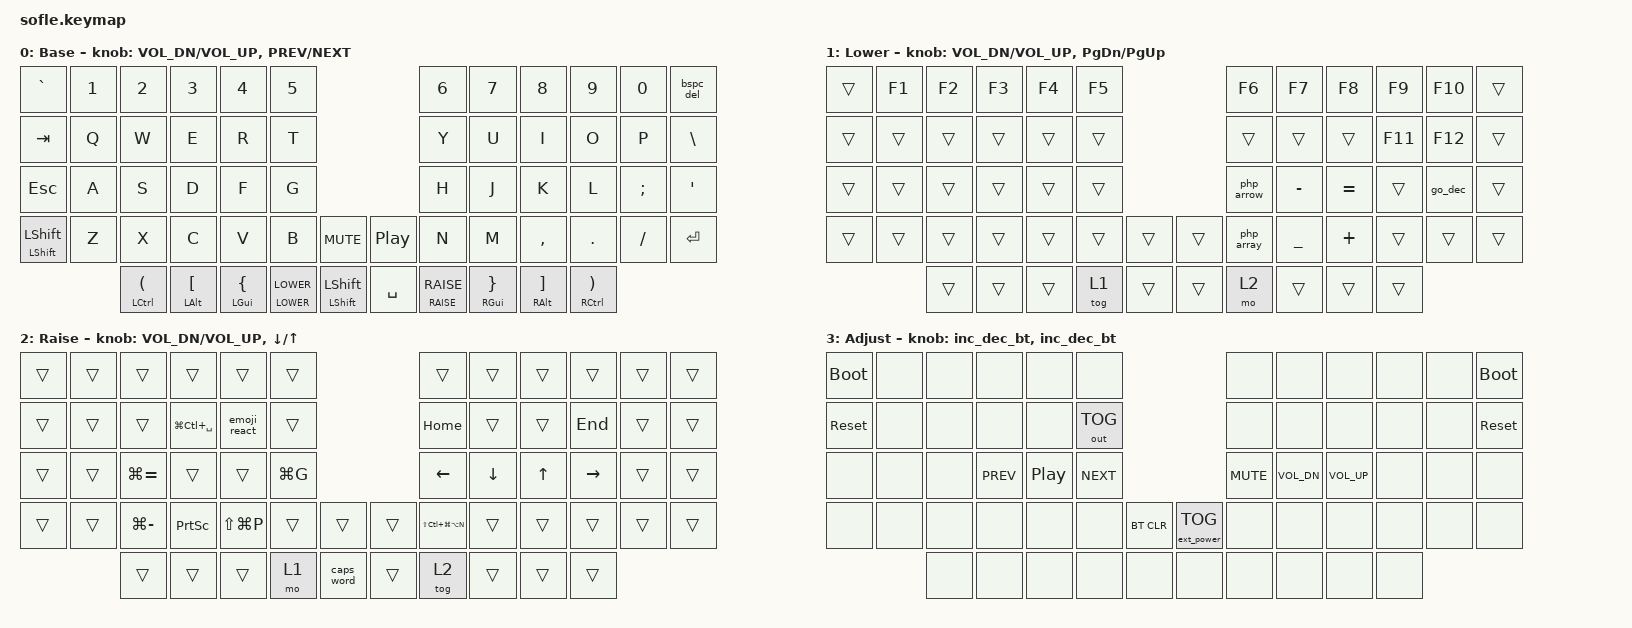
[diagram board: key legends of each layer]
/*
 * Copyright (c) 2020 The ZMK Contributors
 *
 * SPDX-License-Identifier: MIT
 */

#define BASE 0
#define LOWER 1
#define RAISE 2
#define ADJUST 3

#include <behaviors.dtsi>
#include <dt-bindings/zmk/bt.h>
#include <dt-bindings/zmk/ext_power.h>
#include <dt-bindings/zmk/keys.h>
#include <dt-bindings/zmk/outputs.h>
#include "settings.dtsi"
#include "encoder.dtsi"
#include "nice_view.dtsi"

/ {
    // Activate ADJUST layer by pressing raise and lower

    conditional_layers {
        compatible = "zmk,conditional-layers";

        adjust_layer {
            if-layers = <LOWER RAISE>;
            then-layer = <ADJUST>;
        };
    };

    behaviors {
        // tap: backspace | shift-tap: del

        bspc_del: bspc_del {
            compatible = "zmk,behavior-mod-morph";
            #binding-cells = <0>;
            bindings = <&kp BSPC>, <&kp DEL>;

            mods = <(MOD_LSFT)>;
        };

        inc_dec_bt: inc_dec_bt {
            compatible = "zmk,behavior-sensor-rotate";
            #sensor-binding-cells = <0>;
            bindings = <&bt BT_NXT>, <&bt BT_PRV>;
        };

        slht: slht { // sticky layer hold tap
            compatible = "zmk,behavior-hold-tap";
            #binding-cells = <2>;
            tapping-term-ms = <250>;
            flavor = "hold-preferred";
            hold-while-undecided;
            // momentary layer when held, sticky layer when tapped
            // so if held and then released without any other press, it deactivates layer immediately
            bindings = <&mo>, <&sl>;
        };

        sht: sht { // sticky hold tap
            compatible = "zmk,behavior-hold-tap";
            #binding-cells = <2>;
            tapping-term-ms = <250>;
            flavor = "hold-preferred";
            hold-while-undecided;
            // kp when held, sticky key when tapped
            // so if held and then released without any other press, it deactivates immediately
            bindings = <&kp>, <&sk>;
        };

        cmt: cmt {
            compatible = "zmk,behavior-hold-tap";
            #binding-cells = <2>;
            tapping-term-ms = <200>;
            hold-while-undecided;
            flavor = "hold-preferred";
            bindings = <&kp>, <&kp>;
        };
    };

    macros {
        php_arrow: php_arrow {
            compatible = "zmk,behavior-macro";
            #binding-cells = <0>;
            bindings = <&kp MINUS &kp GT>;
        };
        php_array: php_array {
            compatible = "zmk,behavior-macro";
            #binding-cells = <0>;
            bindings = <&kp EQUAL &kp GT>;
        };
        go_dec: go_dec {
            compatible = "zmk,behavior-macro";
            #binding-cells = <0>;
            bindings = <&kp COLON &kp EQUAL>;
        };

        emoji_react: emoji_react {
            compatible = "zmk,behavior-macro";
            #binding-cells = <0>;
            bindings = <&kp PLUS &kp COLON>;
        };
    };

    keymap {
        compatible = "zmk,keymap";

        base_layer {
            display-name = "Base";

            // ------------------------------------------------------------------------------------------------------------
            // |   `   |  1  |  2  |  3   |  4   |  5   |                   |  6   |  7    |  8    |  9   |   0   | BKSPC |
            // |  TAB  |  Q  |  W  |  E   |  R   |  T   |                   |  Y   |  U    |  I    |  O   |   P   |   \   |
            // |  ESC  |  A  |  S  |  D   |  F   |  G   |                   |  H   |  J    |  K    |  L   |   ;   |   '   |
            // | SHIFT |  Z  |  X  |  C   |  V   |  B   |  MUTE  |  | PLAY  |  N   |  M    |  ,    |  .   |   /   |  RET  |
            //               |CTRL | ALT  | GUI  | LOWER|  SHIFT |  | SPACE | RAISE| GUI   | ALT   | CTRL |

            bindings = <
&kp GRAVE  &kp N1  &kp N2          &kp N3         &kp N4         &kp N5                                     &kp N6     &kp N7         &kp N8         &kp N9          &kp N0    &bspc_del
&kp TAB    &kp Q   &kp W           &kp E          &kp R          &kp T                                      &kp Y      &kp U          &kp I          &kp O           &kp P     &kp BSLH
&kp ESC    &kp A   &kp S           &kp D          &kp F          &kp G                                      &kp H      &kp J          &kp K          &kp L           &kp SEMI  &kp SQT
&sht LSHFT LSHFT  &kp Z   &kp X           &kp C          &kp V          &kp B      &kp K_MUTE    &kp C_PLAY_PAUSE  &kp N      &kp M          &kp COMMA      &kp DOT         &kp FSLH  &kp RET
                   &mt LCTRL LPAR  &mt LALT LBKT  &cmt LGUI LBRC &slht LOWER LOWER &sht LSHFT LSHFT     &kp SPACE         &slht RAISE RAISE &cmt RGUI RBRC  &mt RALT RBKT  &mt RCTRL RPAR
            >;

            sensor-bindings = <&inc_dec_kp C_VOL_DN C_VOL_UP &inc_dec_kp C_PREV C_NEXT>;
        };

        lower_layer {
            display-name = "Lower";

            // ------------------------------------------------------------------------------------------------------------
            // |       | F1  | F2  |  F3  |  F4  |  F5  |                   |  F6  |  F7   |  F8   |  F9  |  F10  |       |
            // |       |  1  |  2  |  3   |  4   |  5   |                   |      |       |       |  F11 |  F12  |       |
            // |       |     |     |      |      |      |                   |  ->  |   -   |   =   |      |  :=   |       |
            // |       |     |     |      |      |      |        |  |       |  =>  |   _   |   +   |      |       |       |
            //               |     |      |      |      |        |  |       |      |       |       |      |

            bindings = <
&trans  &kp F1  &kp F2  &kp F3  &kp F4  &kp F5                    &kp F6      &kp F7     &kp F8     &kp F9  &kp F10 &trans
&trans  &trans  &trans  &trans  &trans  &trans                    &trans      &trans     &trans     &kp F11 &kp F12 &trans
&trans  &trans  &trans  &trans  &trans  &trans                    &php_arrow  &kp MINUS  &kp EQUAL  &trans  &go_dec &trans
&trans  &trans  &trans  &trans  &trans  &trans  &trans    &trans  &php_array  &kp UNDER  &kp PLUS   &trans  &trans  &trans
                &trans  &trans  &trans  &tog 1  &trans    &trans  &mo 2       &trans     &trans     &trans
            >;

            sensor-bindings = <&inc_dec_kp C_VOL_DN C_VOL_UP &inc_dec_kp PG_DN PG_UP>;
        };

        raise_layer {
            display-name = "Raise";

            // ------------------------------------------------------------------------------------------------------------
            // |       |      |      |       |       |      |                |      |      |       |      |       |       |
            // |       |      |      | EMOJI | EMOJI |      |                | HOME |      |       | END  |       |       |
            // |       |STICKY|      |       |       | PASS |                |   <- |  v   |   ^   |  ->  |       |       |
            // |       |SCRTCH|      | SCSHOT| CLIPB |      |      |  |      | NOTES|      |       |      |       |       |
            //                |      |       |       |      | CAPS |  |      |      |      |       |      |

            bindings = <
&trans  &trans  &trans         &trans  &trans                 &trans                                       &trans    &trans    &trans  &trans     &trans  &trans
&trans  &trans  &trans         &kp LG(LC(SPACE))  &emoji_react           &trans                            &kp HOME  &trans    &trans  &kp END    &trans  &trans
&trans  &trans  &kp LG(EQUAL)  &trans  &trans                 &kp LG(G)                        &kp LEFT  &kp DOWN  &kp UP  &kp RIGHT  &trans  &trans
&trans  &trans  &kp LG(MINUS)  &kp PRINTSCREEN  &kp LS(LG(P))  &trans                 &trans        &trans  &kp LS(LC(LG(LA(N)))) &trans    &trans  &trans     &trans  &trans
                &trans         &trans  &trans                 &mo 1                  &caps_word    &trans  &tog 2    &trans    &trans  &trans
            >;

            sensor-bindings =
                <&inc_dec_kp C_VOL_DN C_VOL_UP>,
                <&inc_dec_kp DOWN UP>;
        };

        adjust_layer {
            // ----------------------------------------------------------------------------------------------------------------------------
            // | BTCLR  |  BT1    |  BT2    |   BT3   |   BT4   |   BT5   |                  |      |      |       |      |       |       |
            // | EXTPWR |         |         |         |         |         |                  |      |      |       |      |       |       |
            // |        |         |         |         |         |         |                  |      |      |       |      |       |       |
            // |        |         |         |         |         |         |         | |      |      |      |       |      |       |       |
            //                    |         |         |         |         |         | |      |      |      |       |      |

            display-name = "Adjust";
            bindings = <
&bootloader  &none  &none  &none  &none  &none                                          &none  &none  &none  &none  &none  &bootloader
&sys_reset   &none  &none  &none  &none  &out OUT_TOG                                   &none  &none  &none  &none  &none  &sys_reset
&none        &none  &none  &kp C_PREV  &kp C_PLAY_PAUSE &kp C_NEXT                      &kp K_MUTE  &kp C_VOL_DN  &kp C_VOL_UP  &none  &none  &none
&none        &none  &none  &none  &none  &none         &bt BT_CLR    &ext_power EP_TOG  &none  &none  &none  &none  &none  &none
                    &none  &none  &none  &none         &none         &none              &none  &none  &none  &none
            >;

            sensor-bindings = <&inc_dec_bt &inc_dec_bt>;
        };
    };
};

// vi: ft=dts textwidth=0 noautoindent
